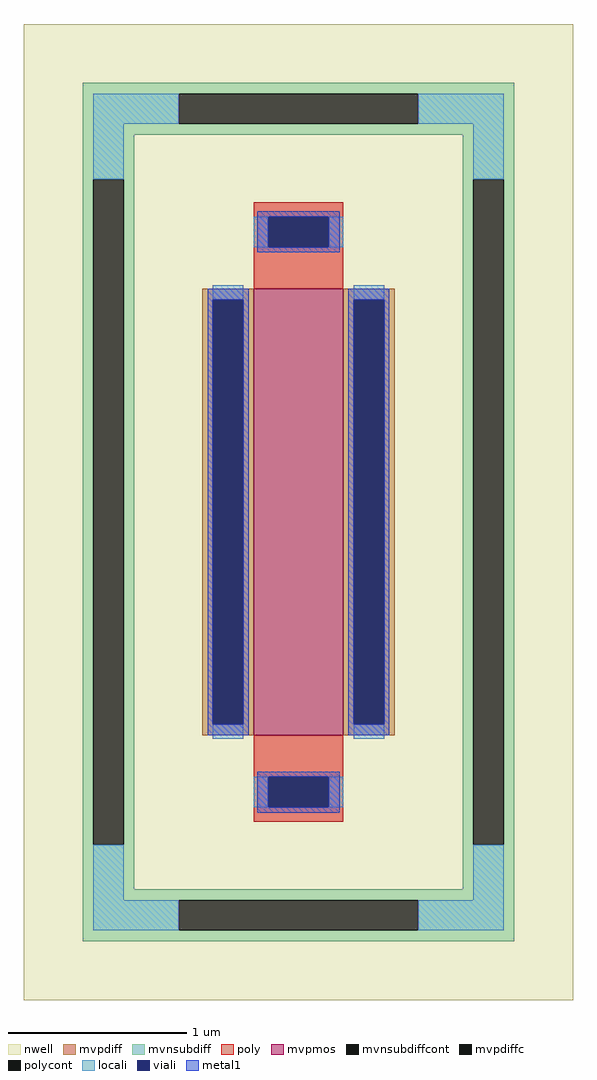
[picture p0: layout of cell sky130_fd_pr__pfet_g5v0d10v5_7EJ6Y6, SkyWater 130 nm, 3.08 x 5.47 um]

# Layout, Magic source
magic
tech sky130A
magscale 1 2
<< nwell >>
rect -308 -547 308 547
<< mvpmos >>
rect -50 -250 50 250
<< mvpdiff >>
rect -108 238 -50 250
rect -108 -238 -96 238
rect -62 -238 -50 238
rect -108 -250 -50 -238
rect 50 238 108 250
rect 50 -238 62 238
rect 96 -238 108 238
rect 50 -250 108 -238
<< mvpdiffc >>
rect -96 -238 -62 238
rect 62 -238 96 238
<< mvnsubdiff >>
rect -242 469 242 481
rect -242 435 -134 469
rect 134 435 242 469
rect -242 423 242 435
rect -242 373 -184 423
rect -242 -373 -230 373
rect -196 -373 -184 373
rect 184 373 242 423
rect -242 -423 -184 -373
rect 184 -373 196 373
rect 230 -373 242 373
rect 184 -423 242 -373
rect -242 -435 242 -423
rect -242 -469 -134 -435
rect 134 -469 242 -435
rect -242 -481 242 -469
<< mvnsubdiffcont >>
rect -134 435 134 469
rect -230 -373 -196 373
rect 196 -373 230 373
rect -134 -469 134 -435
<< poly >>
rect -50 331 50 347
rect -50 297 -34 331
rect 34 297 50 331
rect -50 250 50 297
rect -50 -297 50 -250
rect -50 -331 -34 -297
rect 34 -331 50 -297
rect -50 -347 50 -331
<< polycont >>
rect -34 297 34 331
rect -34 -331 34 -297
<< locali >>
rect -230 435 -134 469
rect 134 435 230 469
rect -230 373 -196 435
rect 196 373 230 435
rect -50 297 -34 331
rect 34 297 50 331
rect -96 238 -62 254
rect -96 -254 -62 -238
rect 62 238 96 254
rect 62 -254 96 -238
rect -50 -331 -34 -297
rect 34 -331 50 -297
rect -230 -435 -196 -373
rect 196 -435 230 -373
rect -230 -469 -134 -435
rect 134 -469 230 -435
<< viali >>
rect -34 297 34 331
rect -96 -238 -62 238
rect 62 -238 96 238
rect -34 -331 34 -297
<< metal1 >>
rect -46 331 46 337
rect -46 297 -34 331
rect 34 297 46 331
rect -46 291 46 297
rect -102 238 -56 250
rect -102 -238 -96 238
rect -62 -238 -56 238
rect -102 -250 -56 -238
rect 56 238 102 250
rect 56 -238 62 238
rect 96 -238 102 238
rect 56 -250 102 -238
rect -46 -297 46 -291
rect -46 -331 -34 -297
rect 34 -331 46 -297
rect -46 -337 46 -331
<< properties >>
string FIXED_BBOX -213 -452 213 452
string gencell sky130_fd_pr__pfet_g5v0d10v5
string library sky130
string parameters w 2.5 l 0.5 m 1 nf 1 diffcov 100 polycov 100 guard 1 glc 1 grc 1 gtc 1 gbc 1 tbcov 100 rlcov 100 topc 1 botc 1 poverlap 0 doverlap 1 lmin 0.50 wmin 0.42 compatible {sky130_fd_pr__pfet_01v8  sky130_fd_pr__pfet_01v8_lvt sky130_fd_pr__pfet_01v8_hvt  sky130_fd_pr__pfet_g5v0d10v5} full_metal 1 viasrc 100 viadrn 100 viagate 100 viagb 0 viagr 0 viagl 0 viagt 0
<< end >>
